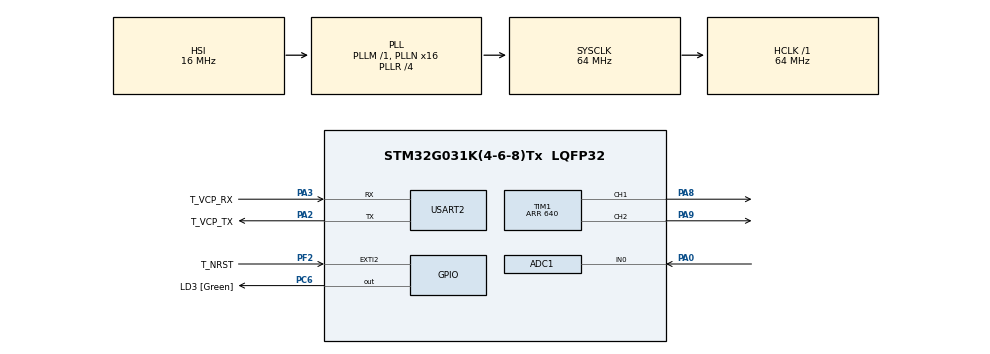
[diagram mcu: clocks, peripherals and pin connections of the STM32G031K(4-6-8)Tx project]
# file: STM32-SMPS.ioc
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ADC1.Channel-0\#ChannelRegularConversion=ADC_CHANNEL_0
ADC1.ExternalTrigConv=ADC_EXTERNALTRIG_T2_TRGO
ADC1.NbrOfConversion=1
ADC1.NbrOfConversionFlag=1
ADC1.Rank-0\#ChannelRegularConversion=1
ADC1.SamplingTime-0\#ChannelRegularConversion=ADC_SAMPLINGTIME_COMMON_1
ADC1.SamplingTimeCommon1=ADC_SAMPLETIME_160CYCLES_5
ADC1.SamplingTimeCommon2=ADC_SAMPLETIME_160CYCLES_5
ADC1.SelectedChannel=ADC_CHANNEL_0
ADC1.master=1
Mcu.Family=STM32G0
Mcu.Name=STM32G031K(4-6-8)Tx
Mcu.Package=LQFP32
NVIC.ADC1_IRQn=true\:0\:0\:false\:false\:true\:true\:true\:true
NVIC.USART2_IRQn=true\:0\:0\:false\:false\:true\:true\:true\:true
PA0.Mode=IN0
PA0.Signal=ADC1_IN0
PA13.GPIO_Label=T_JTMS
PA13.Mode=Serial_Wire
PA13.Signal=SYS_SWDIO
PA14-BOOT0.GPIO_Label=T_JTCK
PA14-BOOT0.Mode=Serial_Wire
PA14-BOOT0.Signal=SYS_SWCLK
PA2.GPIO_Label=T_VCP_TX
PA2.GPIO_PuPd=GPIO_PULLUP
PA2.Mode=Asynchronous
PA2.Signal=USART2_TX
PA3.GPIO_Label=T_VCP_RX
PA3.GPIO_PuPd=GPIO_PULLUP
PA3.Mode=Asynchronous
PA3.Signal=USART2_RX
PA8.Signal=S_TIM1_CH1
PA9.Signal=S_TIM1_CH2
PC14-OSC32_IN\ (PC14).Mode=LSE-External-Oscillator
PC14-OSC32_IN\ (PC14).Signal=RCC_OSC32_IN
PC15-OSC32_OUT\ (PC15).Mode=LSE-External-Oscillator
PC15-OSC32_OUT\ (PC15).Signal=RCC_OSC32_OUT
PC6.GPIO_Label=LD3 [Green]
PC6.Signal=GPIO_Output
PF2\ -\ NRST.GPIO_Label=T_NRST
PF2\ -\ NRST.Signal=GPXTI2
ProjectManager.HeapSize=0x200
ProjectManager.StackSize=0x400
ProjectManager.TargetToolchain=STM32CubeIDE
RCC.ADCFreq_Value=64000000
RCC.AHBFreq_Value=64000000
RCC.CortexFreq_Value=64000000
RCC.EXTERNAL_CLOCK_VALUE=12288000
RCC.HCLKFreq_Value=64000000
RCC.HSE_VALUE=8000000
RCC.HSI_VALUE=16000000
RCC.PLLN=16
RCC.PLLR=RCC_PLLR_DIV4
RCC.SYSCLKFreq_VALUE=64000000
RCC.SYSCLKSource=RCC_SYSCLKSOURCE_PLLCLK
RCC.TIM1CLockSelectionVirtual=RCC_TIM1CLKSOURCE_PLL
RCC.VCOOutputFreq_Value=256000000
SH.S_TIM1_CH1.0=TIM1_CH1,PWM Generation1 CH1
SH.S_TIM1_CH2.0=TIM1_CH2,PWM Generation2 CH2
TIM1.Channel-PWM\ Generation1\ CH1=TIM_CHANNEL_1
TIM1.Channel-PWM\ Generation2\ CH2=TIM_CHANNEL_2
TIM1.CounterMode=TIM_COUNTERMODE_CENTERALIGNED1
TIM1.OCFastMode_PWM-PWM\ Generation1\ CH1=TIM_OCFAST_ENABLE
TIM1.OCFastMode_PWM-PWM\ Generation2\ CH2=TIM_OCFAST_ENABLE
TIM1.OCMode_PWM-PWM\ Generation1\ CH1=TIM_OCMODE_PWM1
TIM1.OCPolarity_2=TIM_OCPOLARITY_LOW
TIM1.Period=640
TIM1.Pulse-PWM\ Generation1\ CH1=160
TIM1.Pulse-PWM\ Generation2\ CH2=480
TIM1.TIM_MasterOutputTrigger=TIM_TRGO_RESET
TIM1.TIM_MasterOutputTrigger2=TIM_TRGO2_RESET
TIM2.Channel-PWM\ Generation1\ No\ Output=TIM_CHANNEL_1
TIM2.OCFastMode_PWM-PWM\ Generation1\ No\ Output=TIM_OCFAST_ENABLE
TIM2.Period=640
TIM2.Pulse-PWM\ Generation1\ No\ Output=320
TIM2.TIM_MasterOutputTrigger=TIM_TRGO_UPDATE
USART2.VirtualMode-Asynchronous=VM_ASYNC
USART2.WordLength=WORDLENGTH_8B
VP_TIM1_VS_ClockSourceINT.Mode=Internal
VP_TIM2_VS_ClockSourceINT.Mode=Internal
VP_TIM2_VS_no_output1.Mode=PWM Generation1 No Output
board=NUCLEO-G031K8

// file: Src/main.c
/* USER CODE BEGIN Header */
/**
  ******************************************************************************
  * @file           : main.c
  * @brief          : Main program body
  ******************************************************************************
  * @attention
  *
  * Copyright (c) 2023 STMicroelectronics.
  * All rights reserved.
  *
  * This software is licensed under terms that can be found in the LICENSE file
  * in the root directory of this software component.
  * If no LICENSE file comes with this software, it is provided AS-IS.
  *
  ******************************************************************************
  */
/* USER CODE END Header */
#include "main.h"

/* USER CODE BEGIN Includes */
#include <stdio.h> 		// Used for terminal formatting
#include <stdlib.h>
#include <string.h>
/* USER CODE END Includes */

ADC_HandleTypeDef hadc1;

TIM_HandleTypeDef htim1;
TIM_HandleTypeDef htim2;

UART_HandleTypeDef huart2;

/* USER CODE BEGIN PV */
const float ADC_RESOLUTION = 4096.0;	// ADC Resolution 4096.0 = 3.3 Volt
const float	ADC_REFERENCE = 1691.028;	// Reference voltage 3.3 / 2, actual measured 1.3 V
const int	ARR_COUNT =	640;			// Period of PWM Signal
const int ARR_DEADTIME = 5;			// PWM Deadtime
const int PULSE_MAX =  ARR_COUNT/2 - ARR_DEADTIME; // Maximum pulse width. Set to half due to center-aligned PWM.
const uint16_t PULSE_HALF = 160;
const float PULSE_STEP =  PULSE_MAX / ADC_RESOLUTION;	// Minimum increment of pulses

// 16.8 Volt in: PULSEWIDTH =

//#define		DUTY_CONVERSION				100.0/ARR_COUNT

uint16_t pulsewidth = PULSE_MAX / 2;
uint8_t ADCFlag = 1;
int16_t AD_RES = 2048;	// ADC Result
uint8_t UART_TX_BUFF[100];
uint16_t UART_TX_BUFF_LEN;

uint8_t UART_RX_BUFF[4] = {0};

float kp = 0.06;
float ki = 0.003;
float kd = 0.000;
float ITerm = 0;
float error = 0;
float last_error = 0;
float d_error = 0;
float pulse_result = 0;

//const int ARR = 320;
//const int DutyMax = ARR/2 - 10;
//const float DutyStep = DutyMax / 4096.0;
//volatile int pulsewidth = DutyMax/2;
//volatile int PWMFlag = 0;
//volatile int ADCFlag = 1;
//char uart_buff[100];
//int uart_buf_len;
//uint8_t UART2_rxBuffer[4] = {0};
/* USER CODE END PV */

void SystemClock_Config(void);
static void MX_GPIO_Init(void);
static void MX_USART2_UART_Init(void);
static void MX_ADC1_Init(void);
static void MX_TIM1_Init(void);
static void MX_TIM2_Init(void);

int main(void)
{

  /* MCU Configuration--------------------------------------------------------*/

  /* Reset of all peripherals, Initializes the Flash interface and the Systick. */
  HAL_Init();

  /* Configure the system clock */
  SystemClock_Config();

  /* Initialize all configured peripherals */
  MX_GPIO_Init();
  MX_USART2_UART_Init();
  MX_ADC1_Init();
  MX_TIM1_Init();
  MX_TIM2_Init();
  /* USER CODE BEGIN 2 */
  HAL_TIM_PWM_Start(&htim1, TIM_CHANNEL_1);	// Initialize PWM Channel 1
  HAL_TIM_PWM_Start(&htim1, TIM_CHANNEL_2);	// Initialize PWM Channel 2

  UART_TX_BUFF_LEN = sprintf(UART_TX_BUFF, "STM32-SMPS Initialized!\r\n");	 // Transmit UART Startup message
  HAL_UART_Transmit(&huart2, (uint8_t *)UART_TX_BUFF, UART_TX_BUFF_LEN, 100);
  HAL_UART_Receive_IT(&huart2, UART_RX_BUFF, 4);		// Initialize UART Interrupt transmission
  	  // Set to receive 4 bytes (123\n)
  	  // Consider replacing with DMA based receive?

  HAL_ADCEx_Calibration_Start(&hadc1);
  HAL_ADC_Start_IT(&hadc1);
  HAL_TIM_PWM_Start(&htim2, TIM_CHANNEL_1);
  //HAL_TIM_Base_Start_IT(&htim3); // Start PID Sampling timer (ARR = 256, 249027 Hz)
  //HAL_TIM_PWM_Start_IT(&htim3, TIM_CHANNEL_1);

  /* USER CODE END 2 */

  /* Infinite loop */
  /* USER CODE BEGIN WHILE */
  while (1)
  {

	//if(ADCFlag)
	//{
		//HAL_ADC_Start_IT(&hadc1); // Fetch error value
		//__HAL_TIM_SET_COMPARE(&htim1, TIM_CHANNEL_1, pulsewidth);
		//__HAL_TIM_SET_COMPARE(&htim1, TIM_CHANNEL_2, ARR_COUNT - pulsewidth);
	//}
	//HAL_Delay(100);
    /* USER CODE END WHILE */

  }
}

void SystemClock_Config(void)
{
  RCC_OscInitTypeDef RCC_OscInitStruct = {0};
  RCC_ClkInitTypeDef RCC_ClkInitStruct = {0};

  /** Configure the main internal regulator output voltage
  */
  HAL_PWREx_ControlVoltageScaling(PWR_REGULATOR_VOLTAGE_SCALE1);

  /** Initializes the RCC Oscillators according to the specified parameters
  * in the RCC_OscInitTypeDef structure.
  */
  RCC_OscInitStruct.OscillatorType = RCC_OSCILLATORTYPE_HSI;
  RCC_OscInitStruct.HSIState = RCC_HSI_ON;
  RCC_OscInitStruct.HSIDiv = RCC_HSI_DIV1;
  RCC_OscInitStruct.HSICalibrationValue = RCC_HSICALIBRATION_DEFAULT;
  RCC_OscInitStruct.PLL.PLLState = RCC_PLL_ON;
  RCC_OscInitStruct.PLL.PLLSource = RCC_PLLSOURCE_HSI;
  RCC_OscInitStruct.PLL.PLLM = RCC_PLLM_DIV1;
  RCC_OscInitStruct.PLL.PLLN = 16;
  RCC_OscInitStruct.PLL.PLLP = RCC_PLLP_DIV2;
  RCC_OscInitStruct.PLL.PLLQ = RCC_PLLQ_DIV2;
  RCC_OscInitStruct.PLL.PLLR = RCC_PLLR_DIV4;
  if (HAL_RCC_OscConfig(&RCC_OscInitStruct) != HAL_OK)
  {
    Error_Handler();
  }

  /** Initializes the CPU, AHB and APB buses clocks
  */
  RCC_ClkInitStruct.ClockType = RCC_CLOCKTYPE_HCLK|RCC_CLOCKTYPE_SYSCLK
                              |RCC_CLOCKTYPE_PCLK1;
  RCC_ClkInitStruct.SYSCLKSource = RCC_SYSCLKSOURCE_PLLCLK;
  RCC_ClkInitStruct.AHBCLKDivider = RCC_SYSCLK_DIV1;
  RCC_ClkInitStruct.APB1CLKDivider = RCC_HCLK_DIV1;

  if (HAL_RCC_ClockConfig(&RCC_ClkInitStruct, FLASH_LATENCY_2) != HAL_OK)
  {
    Error_Handler();
  }
}

static void MX_ADC1_Init(void)
{

  ADC_ChannelConfTypeDef sConfig = {0};

  /** Configure the global features of the ADC (Clock, Resolution, Data Alignment and number of conversion)
  */
  hadc1.Instance = ADC1;
  hadc1.Init.ClockPrescaler = ADC_CLOCK_SYNC_PCLK_DIV2;
  hadc1.Init.Resolution = ADC_RESOLUTION_12B;
  hadc1.Init.DataAlign = ADC_DATAALIGN_RIGHT;
  hadc1.Init.ScanConvMode = ADC_SCAN_DISABLE;
  hadc1.Init.EOCSelection = ADC_EOC_SINGLE_CONV;
  hadc1.Init.LowPowerAutoWait = DISABLE;
  hadc1.Init.LowPowerAutoPowerOff = DISABLE;
  hadc1.Init.ContinuousConvMode = DISABLE;
  hadc1.Init.NbrOfConversion = 1;
  hadc1.Init.DiscontinuousConvMode = DISABLE;
  hadc1.Init.ExternalTrigConv = ADC_EXTERNALTRIG_T2_TRGO;
  hadc1.Init.ExternalTrigConvEdge = ADC_EXTERNALTRIGCONVEDGE_RISING;
  hadc1.Init.DMAContinuousRequests = DISABLE;
  hadc1.Init.Overrun = ADC_OVR_DATA_PRESERVED;
  hadc1.Init.SamplingTimeCommon1 = ADC_SAMPLETIME_160CYCLES_5;
  hadc1.Init.SamplingTimeCommon2 = ADC_SAMPLETIME_160CYCLES_5;
  hadc1.Init.OversamplingMode = DISABLE;
  hadc1.Init.TriggerFrequencyMode = ADC_TRIGGER_FREQ_HIGH;
  if (HAL_ADC_Init(&hadc1) != HAL_OK)
  {
    Error_Handler();
  }

  /** Configure Regular Channel
  */
  sConfig.Channel = ADC_CHANNEL_0;
  sConfig.Rank = ADC_REGULAR_RANK_1;
  sConfig.SamplingTime = ADC_SAMPLINGTIME_COMMON_1;
  if (HAL_ADC_ConfigChannel(&hadc1, &sConfig) != HAL_OK)
  {
    Error_Handler();
  }

}

static void MX_TIM1_Init(void)
{

  TIM_ClockConfigTypeDef sClockSourceConfig = {0};
  TIM_MasterConfigTypeDef sMasterConfig = {0};
  TIM_OC_InitTypeDef sConfigOC = {0};
  TIM_BreakDeadTimeConfigTypeDef sBreakDeadTimeConfig = {0};

  htim1.Instance = TIM1;
  htim1.Init.Prescaler = 0;
  htim1.Init.CounterMode = TIM_COUNTERMODE_CENTERALIGNED1;
  htim1.Init.Period = 640;
  htim1.Init.ClockDivision = TIM_CLOCKDIVISION_DIV1;
  htim1.Init.RepetitionCounter = 0;
  htim1.Init.AutoReloadPreload = TIM_AUTORELOAD_PRELOAD_DISABLE;
  if (HAL_TIM_Base_Init(&htim1) != HAL_OK)
  {
    Error_Handler();
  }
  sClockSourceConfig.ClockSource = TIM_CLOCKSOURCE_INTERNAL;
  if (HAL_TIM_ConfigClockSource(&htim1, &sClockSourceConfig) != HAL_OK)
  {
    Error_Handler();
  }
  if (HAL_TIM_PWM_Init(&htim1) != HAL_OK)
  {
    Error_Handler();
  }
  sMasterConfig.MasterOutputTrigger = TIM_TRGO_RESET;
  sMasterConfig.MasterOutputTrigger2 = TIM_TRGO2_RESET;
  sMasterConfig.MasterSlaveMode = TIM_MASTERSLAVEMODE_DISABLE;
  if (HAL_TIMEx_MasterConfigSynchronization(&htim1, &sMasterConfig) != HAL_OK)
  {
    Error_Handler();
  }
  sConfigOC.OCMode = TIM_OCMODE_PWM1;
  sConfigOC.Pulse = 160;
  sConfigOC.OCPolarity = TIM_OCPOLARITY_HIGH;
  sConfigOC.OCNPolarity = TIM_OCNPOLARITY_HIGH;
  sConfigOC.OCFastMode = TIM_OCFAST_ENABLE;
  sConfigOC.OCIdleState = TIM_OCIDLESTATE_RESET;
  sConfigOC.OCNIdleState = TIM_OCNIDLESTATE_RESET;
  if (HAL_TIM_PWM_ConfigChannel(&htim1, &sConfigOC, TIM_CHANNEL_1) != HAL_OK)
  {
    Error_Handler();
  }
  sConfigOC.Pulse = 480;
  sConfigOC.OCPolarity = TIM_OCPOLARITY_LOW;
  if (HAL_TIM_PWM_ConfigChannel(&htim1, &sConfigOC, TIM_CHANNEL_2) != HAL_OK)
  {
    Error_Handler();
  }
  sBreakDeadTimeConfig.OffStateRunMode = TIM_OSSR_DISABLE;
  sBreakDeadTimeConfig.OffStateIDLEMode = TIM_OSSI_DISABLE;
  sBreakDeadTimeConfig.LockLevel = TIM_LOCKLEVEL_OFF;
  sBreakDeadTimeConfig.DeadTime = 0;
  sBreakDeadTimeConfig.BreakState = TIM_BREAK_DISABLE;
  sBreakDeadTimeConfig.BreakPolarity = TIM_BREAKPOLARITY_HIGH;
  sBreakDeadTimeConfig.BreakFilter = 0;
  sBreakDeadTimeConfig.BreakAFMode = TIM_BREAK_AFMODE_INPUT;
  sBreakDeadTimeConfig.Break2State = TIM_BREAK2_DISABLE;
  sBreakDeadTimeConfig.Break2Polarity = TIM_BREAK2POLARITY_HIGH;
  sBreakDeadTimeConfig.Break2Filter = 0;
  sBreakDeadTimeConfig.Break2AFMode = TIM_BREAK_AFMODE_INPUT;
  sBreakDeadTimeConfig.AutomaticOutput = TIM_AUTOMATICOUTPUT_DISABLE;
  if (HAL_TIMEx_ConfigBreakDeadTime(&htim1, &sBreakDeadTimeConfig) != HAL_OK)
  {
    Error_Handler();
  }
  HAL_TIM_MspPostInit(&htim1);

}

static void MX_TIM2_Init(void)
{

  TIM_ClockConfigTypeDef sClockSourceConfig = {0};
  TIM_MasterConfigTypeDef sMasterConfig = {0};
  TIM_OC_InitTypeDef sConfigOC = {0};

  htim2.Instance = TIM2;
  htim2.Init.Prescaler = 0;
  htim2.Init.CounterMode = TIM_COUNTERMODE_UP;
  htim2.Init.Period = 640;
  htim2.Init.ClockDivision = TIM_CLOCKDIVISION_DIV1;
  htim2.Init.AutoReloadPreload = TIM_AUTORELOAD_PRELOAD_DISABLE;
  if (HAL_TIM_Base_Init(&htim2) != HAL_OK)
  {
    Error_Handler();
  }
  sClockSourceConfig.ClockSource = TIM_CLOCKSOURCE_INTERNAL;
  if (HAL_TIM_ConfigClockSource(&htim2, &sClockSourceConfig) != HAL_OK)
  {
    Error_Handler();
  }
  if (HAL_TIM_PWM_Init(&htim2) != HAL_OK)
  {
    Error_Handler();
  }
  sMasterConfig.MasterOutputTrigger = TIM_TRGO_UPDATE;
  sMasterConfig.MasterSlaveMode = TIM_MASTERSLAVEMODE_DISABLE;
  if (HAL_TIMEx_MasterConfigSynchronization(&htim2, &sMasterConfig) != HAL_OK)
  {
    Error_Handler();
  }
  sConfigOC.OCMode = TIM_OCMODE_PWM1;
  sConfigOC.Pulse = 320;
  sConfigOC.OCPolarity = TIM_OCPOLARITY_HIGH;
  sConfigOC.OCFastMode = TIM_OCFAST_ENABLE;
  if (HAL_TIM_PWM_ConfigChannel(&htim2, &sConfigOC, TIM_CHANNEL_1) != HAL_OK)
  {
    Error_Handler();
  }

}

static void MX_USART2_UART_Init(void)
{

  huart2.Instance = USART2;
  huart2.Init.BaudRate = 115200;
  huart2.Init.WordLength = UART_WORDLENGTH_8B;
  huart2.Init.StopBits = UART_STOPBITS_1;
  huart2.Init.Parity = UART_PARITY_NONE;
  huart2.Init.Mode = UART_MODE_TX_RX;
  huart2.Init.HwFlowCtl = UART_HWCONTROL_NONE;
  huart2.Init.OverSampling = UART_OVERSAMPLING_16;
  huart2.Init.OneBitSampling = UART_ONE_BIT_SAMPLE_DISABLE;
  huart2.Init.ClockPrescaler = UART_PRESCALER_DIV1;
  huart2.AdvancedInit.AdvFeatureInit = UART_ADVFEATURE_NO_INIT;
  if (HAL_UART_Init(&huart2) != HAL_OK)
  {
    Error_Handler();
  }

}

static void MX_GPIO_Init(void)
{
  GPIO_InitTypeDef GPIO_InitStruct = {0};

  /* GPIO Ports Clock Enable */
  __HAL_RCC_GPIOC_CLK_ENABLE();
  __HAL_RCC_GPIOF_CLK_ENABLE();
  __HAL_RCC_GPIOA_CLK_ENABLE();

  /*Configure GPIO pin Output Level */
  HAL_GPIO_WritePin(LD3_GPIO_Port, LD3_Pin, GPIO_PIN_RESET);

  /*Configure GPIO pin : T_NRST_Pin */
  GPIO_InitStruct.Pin = T_NRST_Pin;
  GPIO_InitStruct.Mode = GPIO_MODE_IT_RISING;
  GPIO_InitStruct.Pull = GPIO_NOPULL;
  HAL_GPIO_Init(T_NRST_GPIO_Port, &GPIO_InitStruct);

  /*Configure GPIO pin : LD3_Pin */
  GPIO_InitStruct.Pin = LD3_Pin;
  GPIO_InitStruct.Mode = GPIO_MODE_OUTPUT_PP;
  GPIO_InitStruct.Pull = GPIO_NOPULL;
  GPIO_InitStruct.Speed = GPIO_SPEED_FREQ_LOW;
  HAL_GPIO_Init(LD3_GPIO_Port, &GPIO_InitStruct);

}

/* USER CODE BEGIN 4 */
void HAL_UART_RxCpltCallback(UART_HandleTypeDef *huart)
{
	// Interrupt when buffer is full ("213\n"
    ADCFlag = 0;	// Disable ADC control
	pulsewidth= atoi(UART_RX_BUFF); // Convert buffer to received value
    if(pulsewidth > PULSE_MAX)	//
    {
    	pulsewidth = PULSE_MAX;	// If pulsewidth is given as larger than max, set to max
    	ADCFlag=1;	// And enable ADC Control
    }
    UART_TX_BUFF_LEN = sprintf(UART_TX_BUFF, "Pulse width: %d\r\n", pulsewidth);
    HAL_UART_Transmit(&huart2, (uint8_t *)UART_TX_BUFF, UART_TX_BUFF_LEN, 100); // Echo pulse width
	__HAL_TIM_SET_COMPARE(&htim1, TIM_CHANNEL_1, pulsewidth); // Update PWM CH 1
	__HAL_TIM_SET_COMPARE(&htim1, TIM_CHANNEL_2, ARR_COUNT - pulsewidth); // Update PWM CH 2
	HAL_UART_Receive_IT(&huart2, UART_RX_BUFF, 4); // Enable next UART Receive interrupt
}

void PID_update()
{
	error = AD_RES - ADC_REFERENCE	;

	//pulsewidth = PULSE_STEP *  (Kp * AD_RES ) + PULSE_HALF;
	// We use a constant sampling rate, as such we do not need time.
	// The ki and kd are now dependent on the sampling rate (and must be scaled accordingly).

	ITerm += ki * error;	// Calculate Integral term

	if(ITerm > PULSE_HALF) // Prevent integral windup / integral lag
	{
		ITerm = PULSE_HALF;
	}
	else if(ITerm < -PULSE_HALF) // THis is wrong
	{
		ITerm = -PULSE_HALF;
	}

	d_error = error - last_error; // Calculate derivative term

	pulse_result = (kp * error + ITerm + kd * d_error);  // Calculate output from PID
	if(pulse_result > PULSE_HALF) // Prevent output going above max
	{
		pulsewidth = PULSE_MAX;
	}
	else if(pulse_result < -PULSE_HALF)
	{
		pulsewidth = 0;
	}
	else{
		pulsewidth = pulse_result + PULSE_HALF;
	}

	last_error = error; // Store last error term

	__HAL_TIM_SET_COMPARE(&htim1, TIM_CHANNEL_1, pulsewidth);
	__HAL_TIM_SET_COMPARE(&htim1, TIM_CHANNEL_2, ARR_COUNT - pulsewidth);
}

unsigned long kalman_filter(unsigned long ADC_Value)
{
    float x_k1_k1,x_k_k1;
    static float ADC_OLD_Value;
    float Z_k;
    static float P_k1_k1;

    static float Q = 0.0001;//Q: Regulation noise, Q increases, dynamic response becomes faster, and convergence stability becomes worse
    static float R = 0.005; //R: Test noise, R increases, dynamic response becomes slower, convergence stability becomes better
    static float Kg = 0;
    static float P_k_k1 = 1;

    float kalman_adc;
    static float kalman_adc_old=0;
    Z_k = ADC_Value;
    x_k1_k1 = kalman_adc_old;

    x_k_k1 = x_k1_k1;
    P_k_k1 = P_k1_k1 + Q;

    Kg = P_k_k1/(P_k_k1 + R);

    kalman_adc = x_k_k1 + Kg * (Z_k - kalman_adc_old);
    P_k1_k1 = (1 - Kg)*P_k_k1;
    P_k_k1 = P_k1_k1;

    ADC_OLD_Value = ADC_Value;
    kalman_adc_old = kalman_adc;

    return kalman_adc;
}

void HAL_ADC_ConvCpltCallback(ADC_HandleTypeDef* hadc)
{
	//AD_RES = HAL_ADC_GetValue(&hadc1);
	//UART_TX_BUFF_LEN = sprintf(UART_TX_BUFF, "ADC Value: %d\r\n", AD_RES);
	//HAL_UART_Transmit(&huart2, (uint8_t *)UART_TX_BUFF, UART_TX_BUFF_LEN, 100);
	if(ADCFlag)
	{
		AD_RES = kalman_filter(HAL_ADC_GetValue(&hadc1));
		//AD_RES = HAL_ADC_GetValue(&hadc1);
		PID_update();

	}

	//HAL_ADC_Start_IT(&hadc1);
}

/* USER CODE END 4 */

void Error_Handler(void)
{
  __disable_irq();
  while (1)
  {
  }
}
